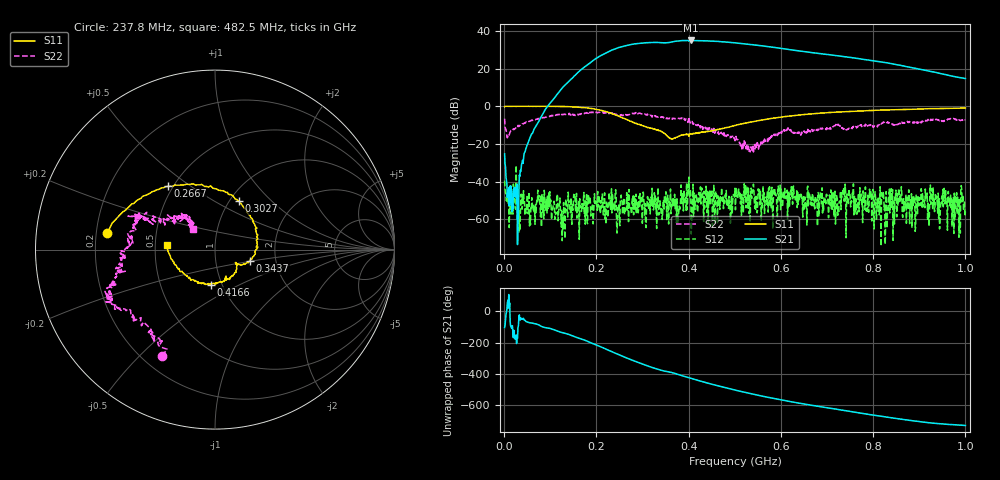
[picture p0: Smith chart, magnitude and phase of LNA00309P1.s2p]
! Created with skrf 1.9.0 (http://scikit-rf.org).
# Hz S RI R 50.0
!freq ReS11 ImS11 ReS21 ImS21 ReS12 ImS12 ReS22 ImS22
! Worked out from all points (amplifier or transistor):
!   1001 points, 1 MHz to 1 GHz, reference 50 ohm
!   highest |S21| = 34.9 dB at 404.6 MHz (marker M1)
!   |S21| within 3 dB of that: 260.2 MHz to 563.1 MHz (302.9 MHz wide, 73.6 % of centre)
!   unconditionally stable (mu >= 1): 4.552 MHz to 81.64 MHz; 217.8 MHz to 395.6 MHz; 400.9 MHz to end of sweep (the widest 3 of 30)
!   at 166.8 MHz: K = 2.54, MAG = 30.6 dB, |S12| = -55.6 dB
!   at 500.5 MHz: K = 1.55, MAG = 34.3 dB, |S12| = -43.6 dB
!   at 1 GHz: K = 9.29, MAG = 22.7 dB, |S12| = -56.0 dB
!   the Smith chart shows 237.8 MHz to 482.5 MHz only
!   S11 on the Smith chart (normalised r, x): 237.8 MHz: 0.25, +0.07; 266.7 MHz: 0.47, +0.41; 302.7 MHz: 1.10, +0.66; 343.7 MHz: 1.47, -0.19; 416.6 MHz: 0.88, -0.36; 482.5 MHz: 0.57, +0.03
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1000000  0.971 -0.00687  -0.0123 -0.0527  -0.00228 0.0104  0.3471 0.3119
1.08892e8  0.5129 -0.8512  -0.7746 -1.47  0.00112 -0.00199  0.4245 -0.3756
1.67833e8  -0.2435 -0.8969  -9.576 -0.5959  -0.00141 -0.000771  0.04 -0.6338
2.07793e8  -0.6759 -0.4084  -15.46 14.96  0.00153 0.00149  -0.2069 -0.6528
2.37763e8  -0.6006 0.0936  -3.93 32.34  0.00243 -0.000964  -0.2944 -0.5912
2.66734e8  -0.2644 0.3523  20.25 36.15  -0.000873 0.0014  -0.4677 -0.3719
2.83717e8  -0.0502 0.352  34.04 30.13  -0.00286 -0.00201  -0.5804 -0.2946
3.02698e8  0.1337 0.2697  44.7 16.67  -0.0025 0.0021  -0.591 -0.2102
3.34666e8  0.2306 0.00115  48.19 -10.07  -0.00124 0.000423  -0.5228 -0.0575
3.43657e8  0.1935 -0.062  45.89 -15.93  0.0012 0.000878  -0.523 -0.00589
3.73627e8  0.1206 -0.0893  41.15 -34.45  0.000327 0.00072  -0.4292 0.1654
4.04596e8  0.0382 -0.1823  20.54 -51.89  -0.000774 0.00448  -0.3466 0.1673
4.16584e8  -0.0235 -0.1969  10.92 -54.53  -0.000641 0.00456  -0.2595 0.1719
4.45555e8  -0.1663 -0.1401  -10.95 -52.8  0.00475 0.00301  -0.1896 0.1923
4.82518e8  -0.2699 0.024  -32.27 -38.75  0.000671 0.00217  -0.122 0.1171
5.005e8  -0.2801 0.1311  -38.66 -29.03  0.00663 -2.63e-05  -0.1032 0.0647
5.39461e8  -0.203 0.3322  -42.16 -7.9  0.00515 -0.00237  -0.0863 -0.00393
5.84416e8  -0.00688 0.4854  -35.1 10.84  0.00348 -0.00396  -0.1573 -0.0725
6.67333e8  0.3887 0.4914  -12.85 23.05  -0.00184 -0.00138  -0.2382 -0.0415
7.55245e8  0.6761 0.2768  4.178 18.84  -0.00434 -0.00322  -0.279 0.0203
8.34166e8  0.7964 0.0208  10.4 9.234  0.000338 -0.00391  -0.3563 0.00528
1e9  0.7318 -0.5206  5.361 -0.9349  0.0014 -0.000748  -0.3231 0.3047
